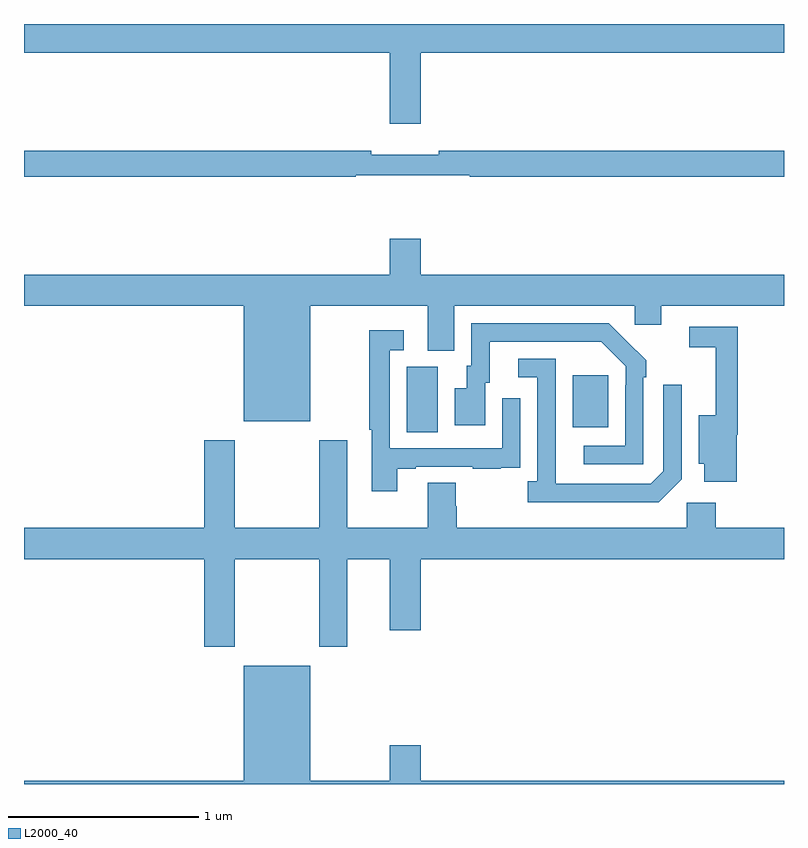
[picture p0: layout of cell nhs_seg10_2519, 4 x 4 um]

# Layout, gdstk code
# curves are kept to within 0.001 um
import gdstk
lib = gdstk.Library(unit=1e-6, precision=1e-09)
def R(c, l, rs):  # rectangles x0, y0, x1, y1
    for r in rs: c.add(gdstk.rectangle(r[:2], r[2:], *l))
def P(c, l, *ps):  # polygons
    for p in ps: c.add(gdstk.Polygon(p, *l))
L2000_40 = (2000, 40)

nhs_seg10_2519 = lib.new_cell('nhs_seg10_2519')
R(nhs_seg10_2519, L2000_40, [(249.014,1266.352,249.178,1266.696), (249.887,1266.377,250.075,1266.652)])
P(nhs_seg10_2519, L2000_40, [(249.088,1268.348),(251,1268.348),(251,1268.5),(247,1268.5),(247,1268.348),(248.924,1268.348),(248.924,1267.974),(249.088,1267.974)],
  [(248.745,1267.704),(249.345,1267.704),(249.345,1267.696),(251,1267.696),(251,1267.832),(249.184,1267.832),(249.184,1267.813),(248.828,1267.813),(248.828,1267.832),(247,1267.832),(247,1267.696),(248.745,1267.696)],
  [(248.506,1267.016),(249.125,1267.016),(249.125,1266.781),(249.265,1266.781),(249.265,1267.016),(250.215,1267.016),(250.215,1266.918),(250.354,1266.918),(250.354,1267.016),(251,1267.016),(251,1267.18),(249.088,1267.18),(249.088,1267.369),(248.924,1267.369),(248.924,1267.18),(247,1267.18),(247,1267.016),(248.156,1267.016),(248.156,1266.41),(248.506,1266.41)],
  [(250.26,1266.641),(250.275,1266.641),(250.275,1266.729),(250.078,1266.924),(249.354,1266.924),(249.354,1266.702),(249.329,1266.702),(249.329,1266.583),(249.266,1266.583),(249.266,1266.387),(249.427,1266.387),(249.427,1266.612),(249.451,1266.612),(249.451,1266.828),(250.039,1266.828),(250.167,1266.699),(250.167,1266.599),(250.164,1266.599),(250.164,1266.279),(249.945,1266.279),(249.945,1266.183),(250.26,1266.183)],
  [(250.751,1266.338),(250.757,1266.338),(250.757,1266.906),(250.5,1266.906),(250.5,1266.798),(250.64,1266.798),(250.64,1266.442),(250.55,1266.442),(250.55,1266.185),(250.58,1266.185),(250.58,1266.09),(250.751,1266.09)],
  [(248.965,1266.159),(249.061,1266.159),(249.061,1266.171),(249.361,1266.171),(249.361,1266.159),(249.509,1266.159),(249.509,1266.165),(249.611,1266.165),(249.611,1266.274),(249.612,1266.274),(249.612,1266.529),(249.516,1266.529),(249.516,1266.267),(248.925,1266.267),(248.925,1266.783),(248.998,1266.783),(248.998,1266.889),(248.817,1266.889),(248.817,1266.364),(248.829,1266.364),(248.829,1266.042),(248.965,1266.042)],
  [(250.461,1266.105),(250.461,1266.601),(250.365,1266.601),(250.365,1266.147),(250.299,1266.081),(249.799,1266.081),(249.798,1266.738),(249.6,1266.738),(249.6,1266.642),(249.702,1266.642),(249.702,1266.094),(249.651,1266.094),(249.651,1265.984),(250.34,1265.984)],
  [(248.109,1265.684),(248.554,1265.684),(248.554,1265.223),(248.701,1265.223),(248.701,1265.684),(248.924,1265.684),(248.924,1265.31),(249.088,1265.31),(249.088,1265.684),(251,1265.684),(251,1265.848),(250.64,1265.848),(250.64,1265.98),(250.488,1265.98),(250.488,1265.848),(249.278,1265.848),(249.278,1265.961),(249.273,1265.961),(249.273,1266.086),(249.125,1266.086),(249.125,1265.848),(248.701,1265.848),(248.701,1266.31),(248.554,1266.31),(248.554,1265.848),(248.109,1265.848),(248.109,1266.31),(247.949,1266.31),(247.949,1265.848),(247,1265.848),(247,1265.684),(247.949,1265.684),(247.949,1265.223),(248.109,1265.223)],
  [(251,1264.516),(249.088,1264.516),(249.088,1264.705),(248.924,1264.705),(248.924,1264.516),(248.506,1264.516),(248.506,1265.122),(248.156,1265.122),(248.156,1264.516),(247,1264.516),(247,1264.5),(251,1264.5)])

lib.write_gds('nhs_seg10_2519.gds')
